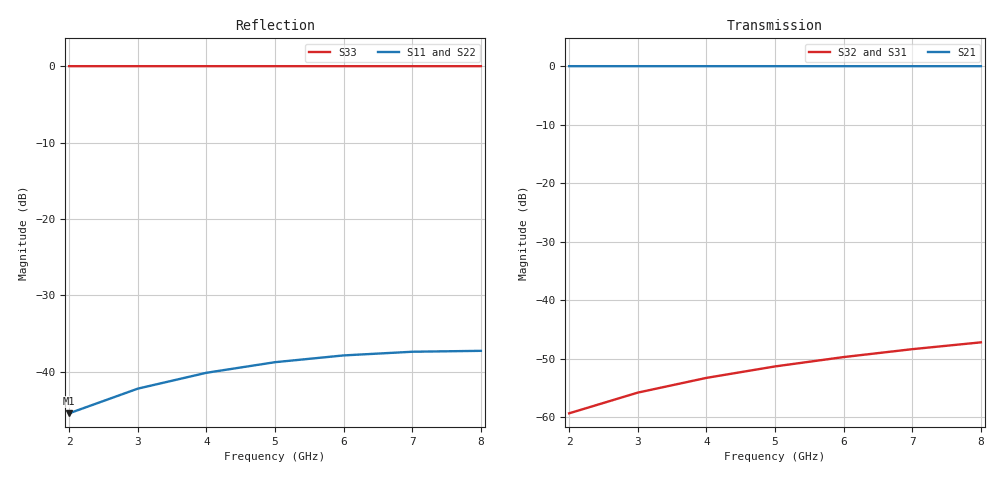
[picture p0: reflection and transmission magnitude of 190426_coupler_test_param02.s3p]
! Sonnet Data File
! From: emgraph Version : 16.56
! From Project: 190426_coupler_test
! Data is De-embedded
! Data File Written: 05/06/2019 15:59:44
!< HDATE 04/25/2019 10:48:44
!< MDATE 04/25/2019 10:59:35
!< PARAMS
!< tandelta = 0.0
!< t_aSi = 0.25
!< W = 10.0
!< Lcoupler = 100.0
!< END PARAMS
# GHZ S MA R 50.0 !  non standard terminations in data
! TERM 50.00000 0.000000 50.00000 0.000000 63.84000 0.000000
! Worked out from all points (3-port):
!   7 points, 2 GHz to 8 GHz, reference 50 ohm
!   strongest paths, dB at 2 GHz, 3 GHz, 5 GHz, 7 GHz, 8 GHz:
!     S21: 0.0, 0.0, 0.0, 0.0, 0.0
!     S32: -59.4, -55.8, -51.3, -48.4, -47.2
!     S31: -59.4, -55.9, -51.4, -48.5, -47.3
!   lowest |S11| = -45.5 dB at 2 GHz (marker M1), VSWR 1.01, Z = 50.2 + j0.492 ohm
!   |S11| at or under -10 dB: start of sweep to end of sweep
2  0.005334 66.8  1 -21.6  0.001074 66.8
   1 -21.6  0.005334 70.0  0.001076 88.2
   0.001074 66.8  0.001076 88.2  1 -3.6
3  0.007735 55.1  1 -32.5  0.001611 55.3
   1 -32.5  0.007734 60.0  0.001617 87.2
   0.001611 55.3  0.001617 87.2  1 -5.5
4  0.009827 43.5  0.9999 -43.3  0.002148 43.7
   0.9999 -43.3  0.009824 50.0  0.002161 86.2
   0.002148 43.7  0.002161 86.2  1 -7.3
5  0.01153 31.8  0.9999 -54.1  0.002684 32.1
   0.9999 -54.1  0.01152 40.1  0.002708 85.2
   0.002684 32.1  0.002708 85.2  1 -9.1
6  0.01277 20.1  0.9999 -64.9  0.003221 20.5
   0.9999 -64.9  0.01276 30.2  0.003256 84.1
   0.003221 20.5  0.003256 84.1  1 -10.9
7  0.0135 8.3  0.9999 -75.7  0.003757 8.9
   0.9999 -75.7  0.01348 20.4  0.003804 82.9
   0.003757 8.9  0.003804 82.9  1 -12.8
8  0.01368 -3.6  0.9999 -86.5  0.004293 -2.6
   0.9999 -86.5  0.01366 10.6  0.004351 81.7
   0.004293 -2.6  0.004351 81.7  1 -14.6
